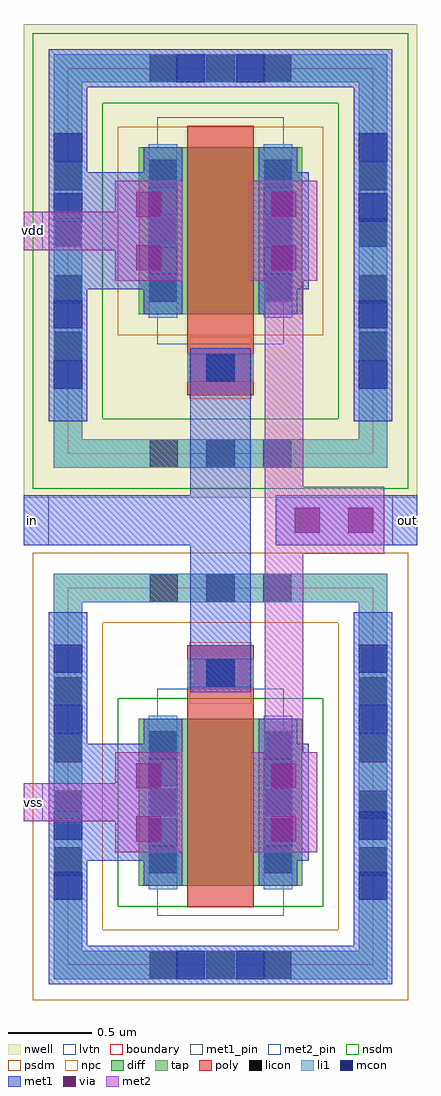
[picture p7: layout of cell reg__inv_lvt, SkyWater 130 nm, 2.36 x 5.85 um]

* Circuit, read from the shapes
.subckt reg__inv_lvt in out vdd vss
XM1 out in vss vss sky130_fd_pr__nfet_01v8_lvt w=1 l=0.4
XM2 out in vdd vdd sky130_fd_pr__pfet_01v8_lvt w=1 l=0.4
.ends

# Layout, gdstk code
from math import pi, radians
import gdstk
lib = gdstk.Library(unit=1e-6, precision=1e-09)
def R(c, l, rs):  # rectangles x0, y0, x1, y1
    for r in rs: c.add(gdstk.rectangle(r[:2], r[2:], *l))
def A(c, l, x, y, w, h, nx, ny, dx, dy):  # array of equal rectangles
    R(c, l, [(x+i*dx, y+j*dy, x+i*dx+w, y+j*dy+h) for i in range(nx) for j in range(ny)])
nwell = (64, 20)
diff = (65, 20)
tap = (65, 44)
poly = (66, 20)
licon = (66, 44)
li1 = (67, 20)
mcon = (67, 44)
met1_pin = (68, 16)
met1 = (68, 20)
via = (68, 44)
met2_pin = (69, 16)
met2 = (69, 20)
nsdm = (93, 44)
psdm = (94, 20)
npc = (95, 20)
lvtn = (125, 44)
boundary = (235, 4)

reginv__mn = lib.new_cell('reginv__MN')
R(reginv__mn, diff, [(-0.49,-0.655,0.49,0.345)])
R(reginv__mn, tap, [(-1,-1.215,1,-1.045), (-1,-1.045,-0.83,1.045), (0.83,-1.045,1,1.045), (-1,1.045,1,1.215)])
R(reginv__mn, poly, [(-0.2,-0.785,0.2,0.785)])
A(reginv__mn, licon, -0.425, -1.215, 0.17, 0.17, 3, 2, 0.34, 2.26)
A(reginv__mn, licon, -1, -0.595, 0.17, 0.17, 1, 4, 0, 0.34)
A(reginv__mn, licon, 0.83, -0.595, 0.17, 0.17, 1, 4, 0, 0.34)
A(reginv__mn, licon, -0.43, -0.58, 0.17, 0.17, 1, 3, 0, 0.34)
A(reginv__mn, licon, 0.26, -0.58, 0.17, 0.17, 1, 3, 0, 0.34)
R(reginv__mn, licon, [(-0.085,0.535,0.085,0.705)])
R(reginv__mn, li1, [(-1,-1.215,1,-1.045), (-1,-1.045,-0.83,1.045), (0.83,-1.045,1,1.045), (-0.43,-0.675,-0.26,0.365), (0.26,-0.675,0.43,0.365), (-0.2,0.535,0.2,0.705), (-1,1.045,1,1.215)])
R(reginv__mn, mcon, [(-0.43,-0.42,-0.26,-0.25), (0.26,-0.42,0.43,-0.25), (-0.43,-0.06,-0.26,0.11), (0.26,-0.06,0.43,0.11), (-0.085,0.535,0.085,0.705)])
R(reginv__mn, met1, [(-0.46,-0.655,-0.23,0.345), (0.23,-0.655,0.46,0.345), (-0.18,0.505,0.18,0.735)])
R(reginv__mn, nsdm, [(-0.615,-0.78,0.615,0.47)])
R(reginv__mn, psdm, [(-1.125,-1.34,1.125,-0.92), (-1.125,-0.92,-0.705,0.92), (0.705,-0.92,1.125,0.92), (-1.125,0.92,1.125,1.34)])
R(reginv__mn, npc, [(-0.185,0.435,0.185,0.805)])
R(reginv__mn, lvtn, [(-0.38,-0.835,0.38,0.525)])
R(reginv__mn, boundary, [(-0.915,-1.13,0.915,1.13)])

via__li_m1 = lib.new_cell('via__LI_M1')
R(via__li_m1, li1, [(0.03,0.03,0.56,0.2)])
R(via__li_m1, mcon, [(0.03,0.03,0.2,0.2), (0.39,0.03,0.56,0.2)])
R(via__li_m1, met1, [(0,0,0.59,0.23)])

reginv__mp = lib.new_cell('reginv__MP')
R(reginv__mp, nwell, [(-1.18,-1.42,1.18,1.42)])
R(reginv__mp, diff, [(-0.49,-0.32,0.49,0.68)])
R(reginv__mp, tap, [(-1,-1.24,1,-1.07), (-1,-1.07,-0.83,1.07), (0.83,-1.07,1,1.07), (-1,1.07,1,1.24)])
R(reginv__mp, poly, [(-0.2,-0.805,0.2,0.81)])
A(reginv__mp, licon, -0.425, -1.24, 0.17, 0.17, 3, 2, 0.34, 2.31)
A(reginv__mp, licon, -1, -0.595, 0.17, 0.17, 1, 4, 0, 0.34)
A(reginv__mp, licon, 0.83, -0.595, 0.17, 0.17, 1, 4, 0, 0.34)
A(reginv__mp, licon, -0.43, -0.245, 0.17, 0.17, 1, 3, 0, 0.34)
A(reginv__mp, licon, 0.26, -0.245, 0.17, 0.17, 1, 3, 0, 0.34)
R(reginv__mp, licon, [(-0.085,-0.725,0.085,-0.555)])
R(reginv__mp, li1, [(-1,-1.24,1,-1.07), (-1,-1.07,-0.83,1.07), (0.83,-1.07,1,1.07), (-0.2,-0.725,0.2,-0.555), (-0.43,-0.34,-0.26,0.7), (0.26,-0.34,0.43,0.7), (-1,1.07,1,1.24)])
R(reginv__mp, mcon, [(-0.085,-0.725,0.085,-0.555), (-0.43,-0.085,-0.26,0.085), (0.26,-0.085,0.43,0.085), (-0.43,0.275,-0.26,0.445), (0.26,0.275,0.43,0.445)])
R(reginv__mp, met1, [(-0.18,-0.755,0.18,-0.525), (-0.46,-0.32,-0.23,0.68), (0.23,-0.32,0.46,0.68)])
R(reginv__mp, nsdm, [(-1.125,-1.365,1.125,-0.945), (-1.125,-0.945,-0.705,0.945), (0.705,-0.945,1.125,0.945), (-1.125,0.945,1.125,1.365)])
R(reginv__mp, psdm, [(-0.615,-0.445,0.615,0.805)])
R(reginv__mp, npc, [(-0.185,-0.825,0.185,-0.455)])
R(reginv__mp, lvtn, [(-0.38,-0.5,0.38,0.86)])
R(reginv__mp, boundary, [(-0.915,-1.155,0.915,1.155)])

via__m1_m2 = lib.new_cell('via__M1_M2')
R(via__m1_m2, met1, [(0,0.05,0.7,0.35)])
R(via__m1_m2, via, [(0.115,0.125,0.265,0.275), (0.435,0.125,0.585,0.275)])
R(via__m1_m2, met2, [(0.05,0,0.65,0.4)])

reg__inv_lvt = lib.new_cell('reg__inv_lvt')
R(reg__inv_lvt, met1_pin, [(0,2.725,0.15,3.025), (2.21,2.725,2.36,3.025)])
R(reg__inv_lvt, met1, [(0.38,0.835,0.6,1.535), (1,1.845,1.36,3.905), (0,2.725,1,3.025), (2.21,2.725,2.36,3.025), (0.38,4.26,0.6,4.96)])
R(reg__inv_lvt, met2_pin, [(0,1.07,0.115,1.3), (0,4.495,0.115,4.725)])
reg__inv_lvt.add(gdstk.FlexPath([(0.265,3.585),(0.265,5.585)], 0.23, ends="extended", simple_path=True, layer=68, datatype=20))  # met1
reg__inv_lvt.add(gdstk.FlexPath([(0.265,5.585),(2.095,5.585)], 0.23, ends="extended", simple_path=True, layer=68, datatype=20))  # met1
reg__inv_lvt.add(gdstk.FlexPath([(2.095,3.585),(2.095,5.585)], 0.23, ends="extended", simple_path=True, layer=68, datatype=20))  # met1
reg__inv_lvt.add(gdstk.FlexPath([(0.265,2.21),(0.265,0.21)], 0.23, ends="extended", simple_path=True, layer=68, datatype=20))  # met1
reg__inv_lvt.add(gdstk.FlexPath([(0.265,0.21),(2.095,0.21)], 0.23, ends="extended", simple_path=True, layer=68, datatype=20))  # met1
reg__inv_lvt.add(gdstk.FlexPath([(2.095,2.21),(2.095,0.21)], 0.23, ends="extended", simple_path=True, layer=68, datatype=20))  # met1
reg__inv_lvt.add(gdstk.FlexPath([(1.56,4.195),(1.56,1.6)], 0.23, ends="extended", simple_path=True, layer=69, datatype=20))  # met2
reg__inv_lvt.add(gdstk.FlexPath([(0.835,4.61),(0.115,4.61)], 0.23, ends="extended", simple_path=True, layer=69, datatype=20))  # met2
reg__inv_lvt.add(gdstk.FlexPath([(0.835,1.185),(0.115,1.185)], 0.23, ends="extended", simple_path=True, layer=69, datatype=20))  # met2
reg__inv_lvt.add(gdstk.Reference(reginv__mn, (1.18,1.34)))
reg__inv_lvt.add(gdstk.Reference(via__li_m1, (0.15,4.225), rotation=3*pi/2))
reg__inv_lvt.add(gdstk.Reference(via__li_m1, (0.15,5.225), rotation=3*pi/2))
reg__inv_lvt.add(gdstk.Reference(via__li_m1, (1.98,4.225), rotation=3*pi/2))
reg__inv_lvt.add(gdstk.Reference(via__li_m1, (1.98,5.225), rotation=3*pi/2))
reg__inv_lvt.add(gdstk.Reference(via__li_m1, (1.475,5.7), rotation=pi))
reg__inv_lvt.add(gdstk.Reference(via__li_m1, (0.15,1.57), rotation=pi/2, x_reflection=True))
reg__inv_lvt.add(gdstk.Reference(reginv__mp, (1.18,4.43)))
reg__inv_lvt.add(gdstk.Reference(via__li_m1, (0.15,0.57), rotation=pi/2, x_reflection=True))
reg__inv_lvt.add(gdstk.Reference(via__li_m1, (1.98,1.57), rotation=pi/2, x_reflection=True))
reg__inv_lvt.add(gdstk.Reference(via__li_m1, (1.98,0.57), rotation=pi/2, x_reflection=True))
reg__inv_lvt.add(gdstk.Reference(via__li_m1, (1.475,0.095), rotation=pi, x_reflection=True))
reg__inv_lvt.add(gdstk.Reference(via__m1_m2, (2.21,3.075), rotation=pi))
reg__inv_lvt.add(gdstk.Reference(via__m1_m2, (1.36,4.96), rotation=3*pi/2))
reg__inv_lvt.add(gdstk.Reference(via__m1_m2, (0.55,4.96), rotation=3*pi/2))
reg__inv_lvt.add(gdstk.Reference(via__m1_m2, (1.36,1.535), rotation=3*pi/2))
reg__inv_lvt.add(gdstk.Reference(via__m1_m2, (0.55,1.535), rotation=3*pi/2))
reg__inv_lvt.add(gdstk.Label('in', (0.055,2.875), layer=68, texttype=16))
reg__inv_lvt.add(gdstk.Label('out', (2.3,2.875), layer=68, texttype=16))
reg__inv_lvt.add(gdstk.Label('vdd', (0.06,4.61), layer=69, texttype=16))
reg__inv_lvt.add(gdstk.Label('vss', (0.06,1.185), layer=69, texttype=16))

lib.write_gds('reg__inv_lvt.gds')
